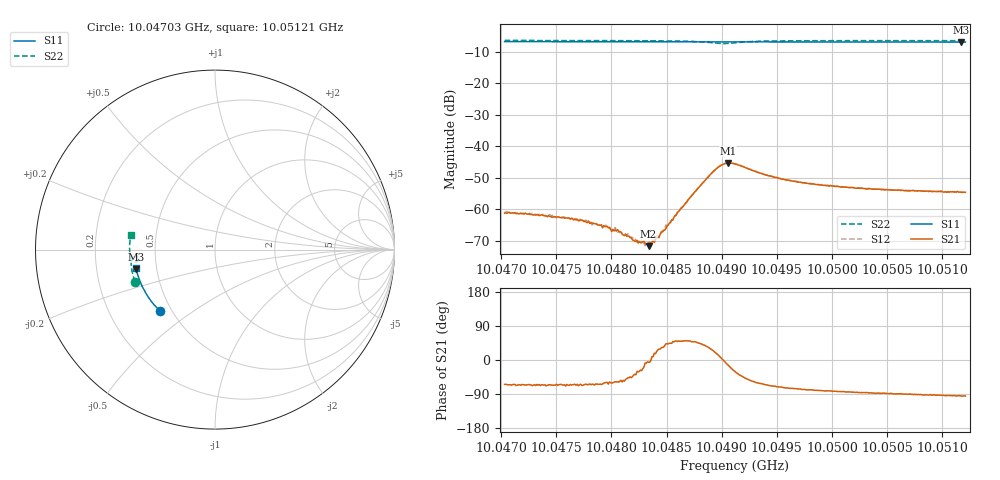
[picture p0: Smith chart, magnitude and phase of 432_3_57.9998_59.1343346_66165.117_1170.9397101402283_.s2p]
#  HZ  S  RI  R  50.00
! Rohde & Schwarz Vector Network Analyzer
! Rohde-Schwarz,ZNB20-2Port,1311601062101988,3.16
! Created: UTC 3/21/2024, 1:09:42 AM
! freq[Hz]  re:S11  im:S11  re:S21  im:S21  re:S12  im:S12  re:S22  im:S22
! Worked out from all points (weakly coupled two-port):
!   401 points, 10.04703 GHz to 10.05121 GHz, reference 50 ohm
!   highest |S21| = -45.32 dB at 10.04906 GHz (marker M1); lowest = -71.7 dB at 10.04834 GHz (marker M2)
!   lowest |S11| = -6.9 dB at 10.05117 GHz (marker M3), VSWR 2.65, Z = 19.1 - j5.17 ohm
!   |S11| at or under -10 dB: nowhere
!   |S22| runs from -7.4 to -6.4 dB; largest |S21 - S12| = 0.00037
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1.0047031e10  -0.3077 -0.3413  0.000374 -0.000783  0.000435 -0.00077  -0.4455 -0.1782
1.0047449e10  -0.3269 -0.3214  0.000315 -0.000699  0.000382 -0.000698  -0.4543 -0.1512
1.0047731e10  -0.3394 -0.3076  0.000262 -0.000614  0.000328 -0.000593  -0.4596 -0.1324
1.0047961e10  -0.349 -0.2957  0.000275 -0.000458  0.000297 -0.000421  -0.4631 -0.1161
1.0048013e10  -0.3511 -0.293  0.000238 -0.000414  0.00029 -0.00039  -0.4639 -0.1125
1.0048065e10  -0.3534 -0.2903  0.000235 -0.000382  0.000258 -0.000349  -0.4646 -0.1087
1.0048139e10  -0.3561 -0.2864  0.000242 -0.000283  0.000281 -0.000259  -0.4653 -0.1034
1.0048222e10  -0.3594 -0.2822  0.00024 -0.000194  0.000271 -0.000178  -0.4662 -0.0971
1.0048253e10  -0.3607 -0.2805  0.000268 -0.000154  0.000274 -0.00013  -0.4664 -0.0946
1.0048337e10  -0.3639 -0.276  0.000257 -2.68e-05  0.000298 -1.32e-05  -0.4669 -0.088
1.0048368e10  -0.3651 -0.2744  0.0003 4.7e-05  0.000291 3.9e-05  -0.4671 -0.0854
1.0048431e10  -0.3675 -0.2708  0.000311 0.000172  0.000303 0.000182  -0.4673 -0.0801
1.0048651e10  -0.3755 -0.2588  0.000706 0.000853  0.000671 0.000916  -0.4645 -0.0597
1.0048901e10  -0.3839 -0.2447  0.00315 0.00178  0.00308 0.00197  -0.4413 -0.0384
1.0048985e10  -0.3865 -0.24  0.00482 0.00068  0.00479 0.000987  -0.4274 -0.0455
1.0049058e10  -0.389 -0.2361  0.00528 -0.00125  0.00535 -0.000954  -0.4264 -0.0604
1.0049121e10  -0.3908 -0.2327  0.00453 -0.00265  0.0047 -0.00237  -0.4354 -0.0688
1.0049466e10  -0.402 -0.2129  0.00116 -0.00304  0.00139 -0.003  -0.4694 -0.0453
1.0049821e10  -0.4117 -0.1916  0.000482 -0.00249  0.000624 -0.00247  -0.4752 -0.0156
1.0050521e10  -0.428 -0.1487  4.18e-05 -0.00203  0.000167 -0.00204  -0.4752 0.0348
1.0051169e10  -0.4391 -0.1077  -0.000145 -0.00186  -2.2e-05 -0.00185  -0.4697 0.0784
1.0051211e10  -0.4397 -0.1051  -0.000163 -0.00185  -5.01e-05 -0.00187  -0.4691 0.0812
